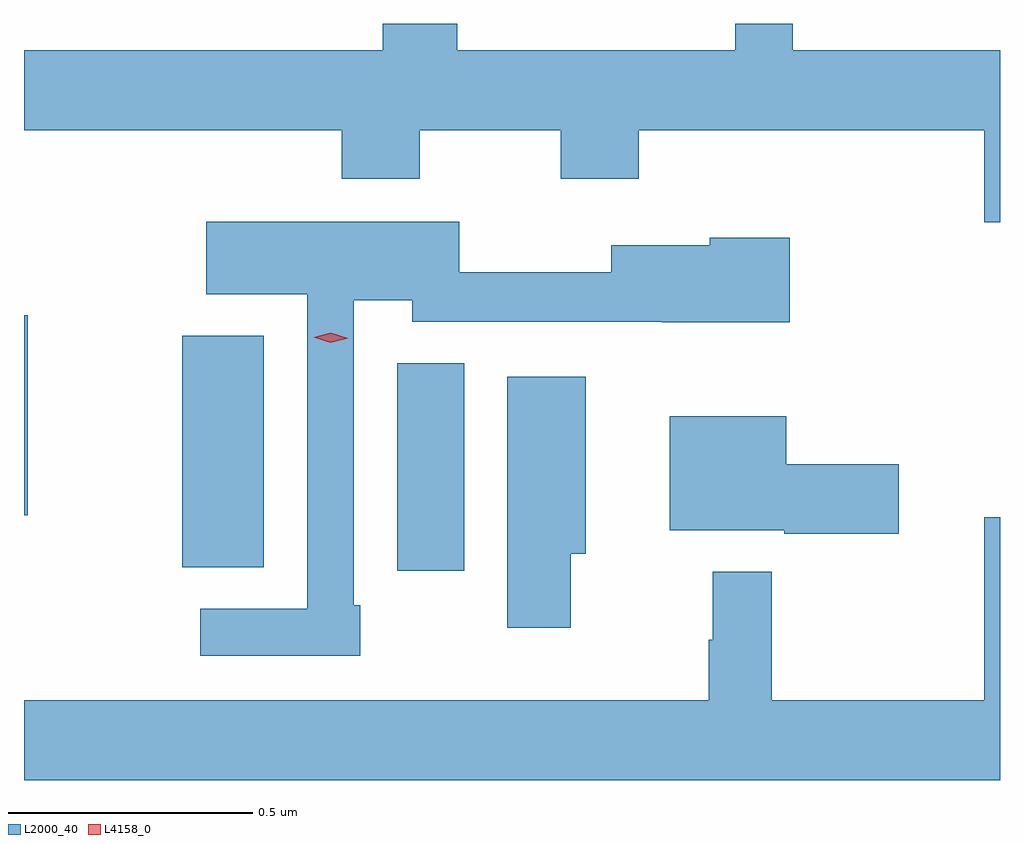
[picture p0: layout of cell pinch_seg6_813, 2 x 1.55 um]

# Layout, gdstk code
import gdstk
lib = gdstk.Library(unit=1e-6, precision=1e-09)
def R(c, l, rs):  # rectangles x0, y0, x1, y1
    for r in rs: c.add(gdstk.rectangle(r[:2], r[2:], *l))
def P(c, l, *ps):  # polygons
    for p in ps: c.add(gdstk.Polygon(p, *l))
L2000_40 = (2000, 40)
L4158_0 = (4158, 0)

pinch_seg6_813 = lib.new_cell('pinch_seg6_813')
R(pinch_seg6_813, L2000_40, [(331.637,975.738,331.774,976.163), (331.196,975.745,331.363,976.219), (330.872,975.851,330.88,976.261)])
P(pinch_seg6_813, L2000_40, [(332.872,976.804),(332.447,976.804),(332.447,976.859),(332.329,976.859),(332.329,976.804),(331.76,976.804),(331.76,976.859),(331.607,976.859),(331.607,976.804),(330.872,976.804),(330.872,976.64),(331.523,976.64),(331.523,976.541),(331.683,976.541),(331.683,976.64),(331.972,976.64),(331.972,976.541),(332.132,976.541),(332.132,976.64),(332.84,976.64),(332.84,976.452),(332.872,976.452)],
  [(331.561,975.667),(331.548,975.667),(331.548,976.292),(331.668,976.292),(331.668,976.248),(332.179,976.248),(332.179,976.247),(332.441,976.247),(332.441,976.42),(332.277,976.42),(332.277,976.405),(332.075,976.405),(332.075,976.349),(331.764,976.349),(331.764,976.453),(331.245,976.453),(331.245,976.304),(331.452,976.304),(331.452,975.66),(331.233,975.66),(331.233,975.564),(331.561,975.564)],
  [(331.992,975.773),(332.023,975.773),(332.023,976.135),(331.862,976.135),(331.862,975.621),(331.992,975.621)],
  [(332.665,975.956),(332.434,975.956),(332.434,976.054),(332.195,976.054),(332.195,975.821),(332.43,975.821),(332.43,975.814),(332.665,975.814)],
  [(332.872,975.847),(332.84,975.847),(332.84,975.472),(332.404,975.472),(332.404,975.736),(332.283,975.736),(332.283,975.596),(332.275,975.596),(332.275,975.472),(330.872,975.472),(330.872,975.308),(332.872,975.308)])
P(pinch_seg6_813, L4158_0, [(331.5,976.205),(331.466,976.216),(331.466,976.216),(331.466,976.216),(331.501,976.225),(331.536,976.214),(331.536,976.214),(331.536,976.214)])

lib.write_gds('pinch_seg6_813.gds')
